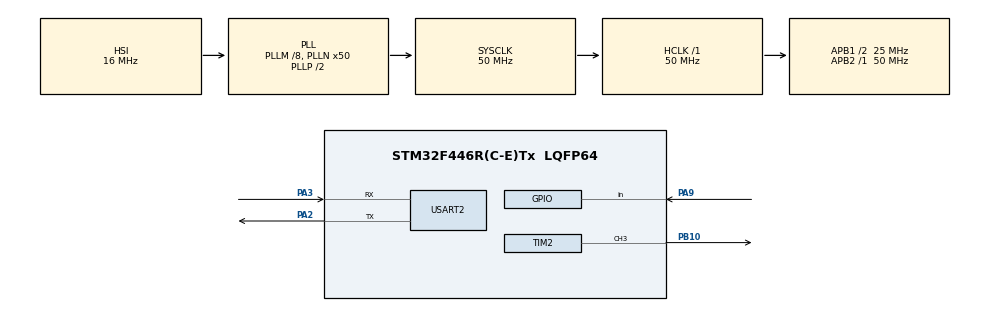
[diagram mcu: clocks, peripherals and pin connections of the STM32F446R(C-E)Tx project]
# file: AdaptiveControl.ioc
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FREERTOS.Tasks01=ControllerTask,24,1280,StartControllerTask,Default,NULL,Dynamic,NULL,NULL;SensorTask,24,1280,StartSensorTask,Default,NULL,Dynamic,NULL,NULL
FREERTOS.Timers01=IdentificationTimer,IdentificationCallback,osTimerPeriodic,Default,NULL,Dynamic,NULL
FREERTOS.configTIMER_TASK_STACK_DEPTH=512
Mcu.Family=STM32F4
Mcu.Name=STM32F446R(C-E)Tx
Mcu.Package=LQFP64
NVIC.PriorityGroup=NVIC_PRIORITYGROUP_4
NVIC.TIM6_DAC_IRQn=true\:0\:0\:false\:false\:true\:false\:false\:true
NVIC.TimeBase=TIM6_DAC_IRQn
NVIC.TimeBaseIP=TIM6
PA2.Mode=Asynchronous
PA2.Signal=USART2_TX
PA3.Mode=Asynchronous
PA3.Signal=USART2_RX
PA9.Signal=GPIO_Input
PB10.Signal=S_TIM2_CH3
ProjectManager.HeapSize=0x30000
ProjectManager.StackSize=0x30000
ProjectManager.TargetToolchain=STM32CubeIDE
RCC.AHBFreq_Value=50000000
RCC.APB1CLKDivider=RCC_HCLK_DIV2
RCC.APB1Freq_Value=25000000
RCC.APB1TimFreq_Value=50000000
RCC.APB2Freq_Value=50000000
RCC.APB2TimFreq_Value=50000000
RCC.CortexFreq_Value=50000000
RCC.HCLKFreq_Value=50000000
RCC.PLLM=8
RCC.PLLN=50
RCC.SYSCLKFreq_VALUE=50000000
RCC.SYSCLKSource=RCC_SYSCLKSOURCE_PLLCLK
RCC.USBFreq_Value=50000000
RCC.VCOOutputFreq_Value=100000000
SH.S_TIM2_CH3.0=TIM2_CH3,PWM Generation3 CH3
TIM2.Channel-PWM\ Generation3\ CH3=TIM_CHANNEL_3
TIM2.Period=62499
TIM2.Prescaler=999
TIM3.AutoReloadPreload=TIM_AUTORELOAD_PRELOAD_DISABLE
TIM3.Period=0xffff-1
TIM3.Prescaler=49
TIM3.TIM_MasterOutputTrigger=TIM_TRGO_RESET
USART2.VirtualMode=VM_ASYNC
VP_FREERTOS_VS_CMSIS_V2.Mode=CMSIS_V2
VP_SYS_VS_tim6.Mode=TIM6
VP_TIM2_VS_ClockSourceINT.Mode=Internal
VP_TIM3_VS_ClockSourceINT.Mode=Internal
board=custom

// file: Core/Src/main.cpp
/* USER CODE BEGIN Header */
/**
  ******************************************************************************
  * @file           : main.cpp
  * @brief          : Main program body
  ******************************************************************************
  * @attention
  *
  * <h2><center>&copy; Copyright (c) 2020 STMicroelectronics.
  * All rights reserved.</center></h2>
  *
  * This software component is licensed by ST under BSD 3-Clause license,
  * the "License"; You may not use this file except in compliance with the
  * License. You may obtain a copy of the License at:
  *                        opensource.org/licenses/BSD-3-Clause
  *
  ******************************************************************************
  */
/* USER CODE END Header */

#include "main.hpp"
#include "cmsis_os.h"

/* USER CODE BEGIN Includes */

#include <stdio.h>
#include "retarget.h"
#include "systemidentification.hpp"
#include "testsystem.hpp"
#include "debug.h"
#include "deadbeat_controller.hpp"
#include "DS18B20.hpp"
#include "sensorNotifier.hpp"

/* USER CODE END Includes */

TIM_HandleTypeDef htim2;
TIM_HandleTypeDef htim3;

UART_HandleTypeDef huart2;

/* Definitions for ControllerTask */
osThreadId_t ControllerTaskHandle;
const osThreadAttr_t ControllerTask_attributes = {
		  .name = "ControllerTask",
		  .attr_bits = osThreadDetached,
		  .cb_mem = NULL,
		  .cb_size = 0,
		  .stack_mem = NULL,
		  .stack_size = 1280 * 4,
		  .priority = (osPriority_t) osPriorityNormal,
		  .tz_module = 0,
		  .reserved = 0
};
/* Definitions for myTask02 */
osThreadId_t SensorTaskHandle;
const osThreadAttr_t SensorTask_attributes = {
		  .name = "SensorTask",
		  .attr_bits = osThreadDetached,
		  .cb_mem = NULL,
		  .cb_size = 0,
		  .stack_mem = NULL,
		  .stack_size = 1280 * 4,
		  .priority = (osPriority_t) osPriorityHigh,
		  .tz_module = 0,
		  .reserved = 0
};
/* Definitions for IdentificationTimer */
osTimerId_t IdentificationTimerHandle;
const osTimerAttr_t IdentificationTimer_attributes = {
  .name = "IdentificationTimer"
};
/* USER CODE BEGIN PV */

systemidentification *PT2 = new systemidentification(2,1.0,0,true,0.2,10);
testsystem *PT1 = new testsystem(0);
testsystem *PT12 = new testsystem(0);
deadbeat_controller *controller = new deadbeat_controller(100,2,10,false);
sensorNotifier *sensorValues = new sensorNotifier();

/* USER CODE END PV */

void SystemClock_Config(void);
static void MX_GPIO_Init(void);
static void MX_USART2_UART_Init(void);
static void MX_TIM2_Init(void);
static void MX_TIM3_Init(void);
void StartControllerTask(void *argument);
void StartSensorTask(void *argument);
void IdentificationCallback(void *argument);

/* USER CODE BEGIN 0 */
/* USER CODE BEGIN 4 */

void user_pwm_setvalue(uint16_t value)
{
    TIM_OC_InitTypeDef sConfigOC;
    value = value * 655;
    sConfigOC.OCMode = TIM_OCMODE_PWM1;
    sConfigOC.Pulse = value;
    sConfigOC.OCPolarity = TIM_OCPOLARITY_HIGH;
    sConfigOC.OCFastMode = TIM_OCFAST_DISABLE;
    HAL_TIM_PWM_ConfigChannel(&htim2, &sConfigOC, TIM_CHANNEL_3);
    HAL_TIM_PWM_Start(&htim2, TIM_CHANNEL_3);
}

/* USER CODE END 4 */
/* USER CODE END 0 */

int main(void)
{

  /* MCU Configuration--------------------------------------------------------*/

  /* Reset of all peripherals, Initializes the Flash interface and the Systick. */
  HAL_Init();

  /* Configure the system clock */
  SystemClock_Config();

  /* Initialize all configured peripherals */
  MX_GPIO_Init();
  MX_USART2_UART_Init();
  MX_TIM2_Init();
  MX_TIM3_Init();
  /* USER CODE BEGIN 2 */

  RetargetInit(&huart2);
  HAL_TIM_PWM_Start(&htim2,TIM_CHANNEL_3);
  HAL_TIM_Base_Start(&htim3);

#ifdef _DEBUG
  printf("Start Debugging: Adaptive Control \r\n");
#endif

  /* USER CODE END 2 */

  /* Init scheduler */
  osKernelInitialize();

  /* Create the timer(s) */
  /* creation of IdentificationTimer */
  IdentificationTimerHandle = osTimerNew(IdentificationCallback, osTimerPeriodic, NULL, &IdentificationTimer_attributes);

  /* USER CODE BEGIN RTOS_TIMERS */
  /* start timers, add new ones, ... */
  //osTimerStart(IdentificationTimerHandle,50000);
  /* USER CODE END RTOS_TIMERS */

  /* Create the thread(s) */
  /* creation of defaultTask */
  ControllerTaskHandle = osThreadNew(StartControllerTask, NULL, &ControllerTask_attributes);

  /* creation of SensorTask */
  SensorTaskHandle = osThreadNew(StartSensorTask, NULL, &SensorTask_attributes);

  /* Start scheduler */
  osKernelStart();

  /* We should never get here as control is now taken by the scheduler */
  /* Infinite loop */
  while (1)
  {

  }
}

void SystemClock_Config(void)
{
  RCC_OscInitTypeDef RCC_OscInitStruct = {0};
  RCC_ClkInitTypeDef RCC_ClkInitStruct = {0};

  /** Configure the main internal regulator output voltage
  */
  __HAL_RCC_PWR_CLK_ENABLE();
  __HAL_PWR_VOLTAGESCALING_CONFIG(PWR_REGULATOR_VOLTAGE_SCALE3);
  /** Initializes the CPU, AHB and APB busses clocks
  */
  RCC_OscInitStruct.OscillatorType = RCC_OSCILLATORTYPE_HSI;
  RCC_OscInitStruct.HSIState = RCC_HSI_ON;
  RCC_OscInitStruct.HSICalibrationValue = RCC_HSICALIBRATION_DEFAULT;
  RCC_OscInitStruct.PLL.PLLState = RCC_PLL_ON;
  RCC_OscInitStruct.PLL.PLLSource = RCC_PLLSOURCE_HSI;
  RCC_OscInitStruct.PLL.PLLM = 8;
  RCC_OscInitStruct.PLL.PLLN = 50;
  RCC_OscInitStruct.PLL.PLLP = RCC_PLLP_DIV2;
  RCC_OscInitStruct.PLL.PLLQ = 2;
  RCC_OscInitStruct.PLL.PLLR = 2;
  if (HAL_RCC_OscConfig(&RCC_OscInitStruct) != HAL_OK)
  {
    Error_Handler();
  }
  /** Initializes the CPU, AHB and APB busses clocks
  */
  RCC_ClkInitStruct.ClockType = RCC_CLOCKTYPE_HCLK|RCC_CLOCKTYPE_SYSCLK
                              |RCC_CLOCKTYPE_PCLK1|RCC_CLOCKTYPE_PCLK2;
  RCC_ClkInitStruct.SYSCLKSource = RCC_SYSCLKSOURCE_PLLCLK;
  RCC_ClkInitStruct.AHBCLKDivider = RCC_SYSCLK_DIV1;
  RCC_ClkInitStruct.APB1CLKDivider = RCC_HCLK_DIV2;
  RCC_ClkInitStruct.APB2CLKDivider = RCC_HCLK_DIV1;

  if (HAL_RCC_ClockConfig(&RCC_ClkInitStruct, FLASH_LATENCY_1) != HAL_OK)
  {
    Error_Handler();
  }
}

static void MX_TIM2_Init(void)
{

  TIM_ClockConfigTypeDef sClockSourceConfig = {0};
  TIM_MasterConfigTypeDef sMasterConfig = {0};
  TIM_OC_InitTypeDef sConfigOC = {0};

  htim2.Instance = TIM2;
  htim2.Init.Prescaler = 999;
  htim2.Init.CounterMode = TIM_COUNTERMODE_UP;
  htim2.Init.Period = 62499;
  htim2.Init.ClockDivision = TIM_CLOCKDIVISION_DIV1;
  htim2.Init.AutoReloadPreload = TIM_AUTORELOAD_PRELOAD_DISABLE;
  if (HAL_TIM_Base_Init(&htim2) != HAL_OK)
  {
    Error_Handler();
  }
  sClockSourceConfig.ClockSource = TIM_CLOCKSOURCE_INTERNAL;
  if (HAL_TIM_ConfigClockSource(&htim2, &sClockSourceConfig) != HAL_OK)
  {
    Error_Handler();
  }
  if (HAL_TIM_PWM_Init(&htim2) != HAL_OK)
  {
    Error_Handler();
  }
  sMasterConfig.MasterOutputTrigger = TIM_TRGO_RESET;
  sMasterConfig.MasterSlaveMode = TIM_MASTERSLAVEMODE_DISABLE;
  if (HAL_TIMEx_MasterConfigSynchronization(&htim2, &sMasterConfig) != HAL_OK)
  {
    Error_Handler();
  }
  sConfigOC.OCMode = TIM_OCMODE_PWM1;
  sConfigOC.Pulse = 0;
  sConfigOC.OCPolarity = TIM_OCPOLARITY_HIGH;
  sConfigOC.OCFastMode = TIM_OCFAST_DISABLE;
  if (HAL_TIM_PWM_ConfigChannel(&htim2, &sConfigOC, TIM_CHANNEL_3) != HAL_OK)
  {
    Error_Handler();
  }
  HAL_TIM_MspPostInit(&htim2);

}

static void MX_TIM3_Init(void)
{

  TIM_ClockConfigTypeDef sClockSourceConfig = {0};
  TIM_MasterConfigTypeDef sMasterConfig = {0};

  htim3.Instance = TIM3;
  htim3.Init.Prescaler = 50-1;
  htim3.Init.CounterMode = TIM_COUNTERMODE_UP;
  htim3.Init.Period = 0xffff-1;
  htim3.Init.ClockDivision = TIM_CLOCKDIVISION_DIV1;
  htim3.Init.AutoReloadPreload = TIM_AUTORELOAD_PRELOAD_DISABLE;
  if (HAL_TIM_Base_Init(&htim3) != HAL_OK)
  {
    Error_Handler();
  }
  sClockSourceConfig.ClockSource = TIM_CLOCKSOURCE_INTERNAL;
  if (HAL_TIM_ConfigClockSource(&htim3, &sClockSourceConfig) != HAL_OK)
  {
    Error_Handler();
  }
  sMasterConfig.MasterOutputTrigger = TIM_TRGO_RESET;
  sMasterConfig.MasterSlaveMode = TIM_MASTERSLAVEMODE_DISABLE;
  if (HAL_TIMEx_MasterConfigSynchronization(&htim3, &sMasterConfig) != HAL_OK)
  {
    Error_Handler();
  }

}

static void MX_USART2_UART_Init(void)
{

  huart2.Instance = USART2;
  huart2.Init.BaudRate = 115200;
  huart2.Init.WordLength = UART_WORDLENGTH_8B;
  huart2.Init.StopBits = UART_STOPBITS_1;
  huart2.Init.Parity = UART_PARITY_NONE;
  huart2.Init.Mode = UART_MODE_TX_RX;
  huart2.Init.HwFlowCtl = UART_HWCONTROL_NONE;
  huart2.Init.OverSampling = UART_OVERSAMPLING_16;
  if (HAL_UART_Init(&huart2) != HAL_OK)
  {
    Error_Handler();
  }

}

static void MX_GPIO_Init(void)
{
  GPIO_InitTypeDef GPIO_InitStruct = {0};

  /* GPIO Ports Clock Enable */
  __HAL_RCC_GPIOA_CLK_ENABLE();
  __HAL_RCC_GPIOB_CLK_ENABLE();

  /*Configure GPIO pin : PA9 */
  GPIO_InitStruct.Pin = GPIO_PIN_9;
  GPIO_InitStruct.Mode = GPIO_MODE_INPUT;
  GPIO_InitStruct.Pull = GPIO_NOPULL;
  HAL_GPIO_Init(GPIOA, &GPIO_InitStruct);
}

void StartControllerTask(void *argument)
{
  /* USER CODE BEGIN 5 */
  /* Infinite loop */
  float u = 1;
  float w = 50;
  float y = 0;
  int initFlag = 0;
  int deadtime = 0;
  float* system;
  float *result;

  for(;;)
  {

// start with initial system learning phase

	  if(initFlag < 1)
	  {
		  // calculate deadtime
		  /*for(int i = 0; i<=6; i++)
		  {
			//system = PT1->testsystem_output(1,1000);
			PT2->calculateDeadtime(system[0],system[1]);
			deadtime = PT2->newDeadTime();
		  }*/

		  for(int i = 0; i<20; i++)
		  {
			  y = sensorValues->getTemperature();
			  u = 10;

			  user_pwm_setvalue(u);
			  printf("u: %.2f \r\n\r\n", u);
			  result = PT2->calculateSystem(y,u);
			  osDelay(1000);
		  }

		  for(int i = 0; i<20; i++)
		  {
			  y = sensorValues->getTemperature();
			  u = 30;

			  user_pwm_setvalue(30);
			  printf("u: %.2f \r\n\r\n", u);
			  result = PT2->calculateSystem(y,u);
			  osDelay(1000);
		  }

		  initFlag++;
	   }

	  else
	  {
// test adaptive control
		y = sensorValues->getTemperature();
		u = 10;

		result = PT2->calculateSystem(y,u);
		float controlDelta = w-y;
		controller->getInputs(controlDelta);
		controller->getNewSystem(result,deadtime);
	 	controller->calculateNewController();
	 	u = controller->controll();
 	 	printf("y: %.2f  \r\n\r\n", y);
 	 	printf("u: %.2f \r\n\r\n", u);

 	 	osDelay(1000);
	  }
  /* USER CODE END 5 */
  }
}
void StartSensorTask(void *argument)
{
  /* USER CODE BEGIN StartTask02 */

	  float temp;
	  uint16_t TEMP;
	  uint8_t Presence;

  /* Infinite loop */
	  for(;;)
	  {
		  Presence = DS18B20_Start ();
		  printf("Presence1: %d \r\n\r\n", Presence);
		  osDelay(1);
		  DS18B20_Write (0xCC);  // skip ROM
		  DS18B20_Write (0x44);  // convert t
		  osDelay(700);

		  Presence = DS18B20_Start ();
		  printf("Presence2: %d \r\n\r\n", Presence);
		  osDelay(1);
		  DS18B20_Write (0xCC);  // skip ROM
		  DS18B20_Write (0xBE);  // Read Scratch-pad

		  uint8_t Temp_byte1 = DS18B20_Read();
		  osDelay(1);
		  uint8_t Temp_byte2 = DS18B20_Read();

		  TEMP = (Temp_byte2<<8)|Temp_byte1;
		  temp = (float)TEMP/16;

		  sensorValues->setTemperature(temp);

		  osDelay (3000);
	  }
  /* USER CODE END StartTask02 */
}

/* IdentificationCallback function */
void IdentificationCallback(void *argument)
{
  /* USER CODE BEGIN IdentificationCallback */
#ifdef _DEBUG
  printf("Start calculation: \r\n");
#endif

  /* USER CODE END IdentificationCallback */
}

 /**
  * @brief  Period elapsed callback in non blocking mode
  * @note   This function is called  when TIM6 interrupt took place, inside
  * HAL_TIM_IRQHandler(). It makes a direct call to HAL_IncTick() to increment
  * a global variable "uwTick" used as application time base.
  * @param  htim : TIM handle
  * @retval None
  */
void HAL_TIM_PeriodElapsedCallback(TIM_HandleTypeDef *htim)
{
  if (htim->Instance == TIM6) {
    HAL_IncTick();
  }
}

void Error_Handler(void)
{
}

/************************ (C) COPYRIGHT STMicroelectronics *****END OF FILE****/
